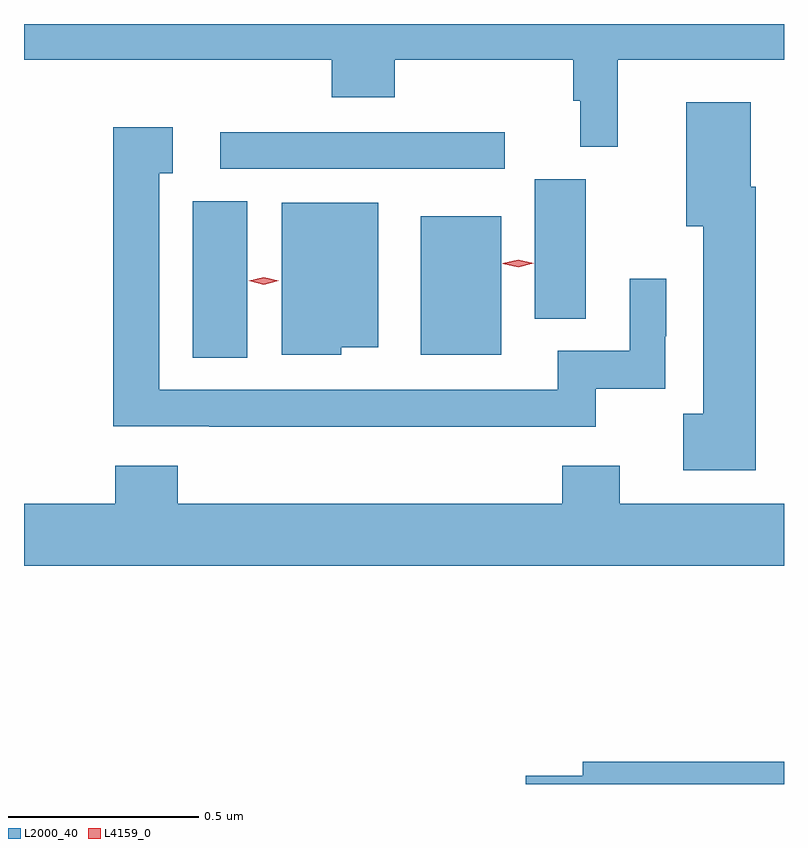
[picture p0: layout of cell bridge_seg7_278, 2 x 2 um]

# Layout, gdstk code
import gdstk
lib = gdstk.Library(unit=1e-6, precision=1e-09)
def R(c, l, rs):  # rectangles x0, y0, x1, y1
    for r in rs: c.add(gdstk.rectangle(r[:2], r[2:], *l))
def P(c, l, *ps):  # polygons
    for p in ps: c.add(gdstk.Polygon(p, *l))
L2000_40 = (2000, 40)
L4159_0 = (4159, 0)

bridge_seg7_278 = lib.new_cell('bridge_seg7_278')
R(bridge_seg7_278, L2000_40, [(232.613,1033.132,232.756,1033.544), (233.213,1033.139,233.425,1033.504), (233.513,1033.235,233.647,1033.602), (232.686,1033.629,233.434,1033.725)])
P(bridge_seg7_278, L2000_40, [(233.732,1033.916),(234.169,1033.916),(234.169,1034.01),(232.169,1034.01),(232.169,1033.916),(232.979,1033.916),(232.979,1033.817),(233.144,1033.817),(233.144,1033.916),(233.614,1033.916),(233.614,1033.808),(233.633,1033.808),(233.633,1033.687),(233.732,1033.687)],
  [(234.095,1033.582),(234.082,1033.582),(234.082,1033.804),(233.912,1033.804),(233.912,1033.478),(233.957,1033.478),(233.957,1032.984),(233.904,1032.984),(233.904,1032.836),(234.095,1032.836)],
  [(233.673,1033.05),(233.856,1033.05),(233.856,1033.188),(233.859,1033.188),(233.859,1033.339),(233.763,1033.339),(233.763,1033.15),(233.573,1033.15),(233.573,1033.047),(232.525,1033.047),(232.525,1033.617),(232.561,1033.617),(232.561,1033.738),(232.404,1033.738),(232.404,1032.951),(232.657,1032.951),(232.657,1032.95),(233.673,1032.95)],
  [(233.004,1033.16),(233.101,1033.16),(233.101,1033.54),(232.847,1033.54),(232.847,1033.139),(233.004,1033.139)],
  [(232.409,1032.847),(232.409,1032.748),(232.169,1032.748),(232.169,1032.584),(234.169,1032.584),(234.169,1032.748),(233.737,1032.748),(233.737,1032.847),(233.585,1032.847),(233.585,1032.748),(232.574,1032.748),(232.574,1032.847)],
  [(234.169,1032.068),(233.639,1032.068),(233.639,1032.032),(233.49,1032.032),(233.49,1032.01),(234.169,1032.01)])
P(bridge_seg7_278, L4159_0, [(233.47,1033.37),(233.429,1033.379),(233.429,1033.379),(233.429,1033.38),(233.47,1033.39),(233.511,1033.381),(233.511,1033.381),(233.511,1033.381)],
  [(232.8,1033.324),(232.76,1033.334),(232.76,1033.334),(232.76,1033.335),(232.8,1033.344),(232.84,1033.335),(232.84,1033.334),(232.84,1033.334)])

lib.write_gds('bridge_seg7_278.gds')
